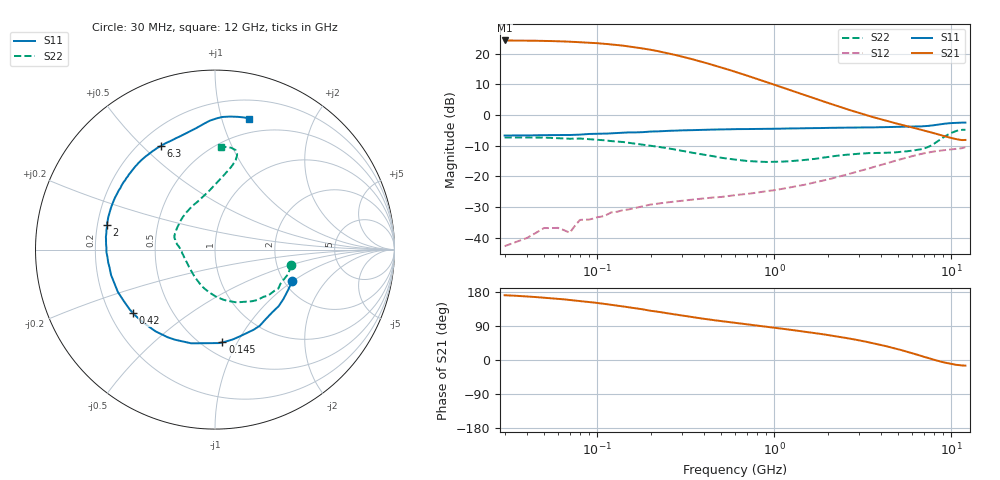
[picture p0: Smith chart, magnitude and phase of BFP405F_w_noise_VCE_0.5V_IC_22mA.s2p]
! Infineon Technologies  Discrete & RF Semiconductors
! BFP405F
! VCE =  0.5 V,  IC =  22 mA
! Common Emitter S-Parameters:  Nov 2015
# GHz  S  MA  R  50
!  f  S11  S21  S12  S22
! GHz  MAG  ANG  MAG  ANG  MAG  ANG  MAG  ANG
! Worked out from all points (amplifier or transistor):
!   239 points, 30 MHz to 12 GHz, reference 50 ohm
!   highest |S21| = 24.3 dB at 30 MHz (marker M1)
!   |S21| within 3 dB of that: start of sweep to 198.8 MHz
!   unconditionally stable (mu >= 1): start of sweep to 104.7 MHz; 357.9 MHz to end of sweep
!   at 300 MHz: K = 0.92, MSG = 23.5 dB, |S12| = -27.9 dB
!   at 1.88 GHz: K = 2.23, MAG = 6.7 dB, |S12| = -21.4 dB
!   at 12 GHz: K = 1.72, MAG = -3.8 dB, |S12| = -10.5 dB
!   lowest NFmin = 2.34 dB at 450 MHz
!   S11 on the Smith chart (normalised r, x): 30 MHz: 2.22, -0.98; 145 MHz: 0.62, -0.87; 420 MHz: 0.30, -0.32; 2 GHz: 0.24, +0.11; 6.3 GHz: 0.28, +0.57; 12 GHz: 0.36, +1.23
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0.03  0.4642 -21.9  16.43 170.9  0.0073 79.4  0.4314 -11.6
0.04  0.4655 -28.7  16.33 167.8  0.0099 67.1  0.4306 -15.7
0.055  0.4718 -38.7  16.07 163.0  0.0144 80.9  0.4241 -20.7
0.07  0.4731 -47.7  15.69 158.4  0.0121 69.4  0.4113 -27.4
0.085  0.4855 -56.9  15.26 154.3  0.0197 72.7  0.4088 -33.0
0.105  0.4962 -67.0  14.66 149.3  0.0221 63.0  0.3914 -40.3
0.13  0.5101 -78.7  13.85 143.3  0.0266 61.0  0.3694 -48.6
0.145  0.5183 -85.4  13.34 140.3  0.0286 58.0  0.3585 -52.6
0.2  0.5387 -104.2  11.6 129.9  0.0348 50.2  0.3176 -67.8
0.24  0.5493 -113.9  10.43 124.5  0.0373 46.0  0.2931 -76.6
0.3  0.5631 -126.0  8.997 117.3  0.0401 44.0  0.2617 -88.9
0.42  0.5774 -142.1  6.938 107.5  0.0444 40.4  0.2208 -107.2
0.5  0.5828 -149.5  5.961 102.5  0.0462 39.4  0.2017 -117.3
0.6  0.5905 -156.5  5.062 97.9  0.0497 39.2  0.1883 -127.7
0.9  0.5956 -170.0  3.451 87.6  0.0576 41.4  0.172 -151.2
1.2  0.6048 -178.4  2.61 80.4  0.0653 43.6  0.1772 -165.9
1.64  0.6118 172.7  1.923 72.0  0.0783 45.8  0.1914 -179.6
2  0.618 167.0  1.584 66.0  0.0893 46.1  0.2072 174.0
4.5  0.6379 136.9  0.777 34.0  0.1698 38.8  0.2436 148.5
6.3  0.6516 117.7  0.606 15.2  0.2215 27.0  0.2684 121.8
10  0.7401 86.8  0.423 -10.4  0.2759 3.1  0.512 77.0
12  0.7531 75.5  0.393 -14.8  0.3002 -2.8  0.5745 86.5
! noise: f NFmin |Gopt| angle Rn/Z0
0.45  2.34  0.01  -136  0.48
0.9  2.36  0.03  -135  0.34
1.5  2.42  0.05  -131  0.37
1.9  2.49  0.07  -128  0.44
2.4  2.64  0.08  -126  0.18
3  2.75  0.1  -123  0.2
3.5  2.84  0.11  -120  0.29
4.5  3.11  0.16  -106  0.54
5.5  3.47  0.29  -88  0.55
